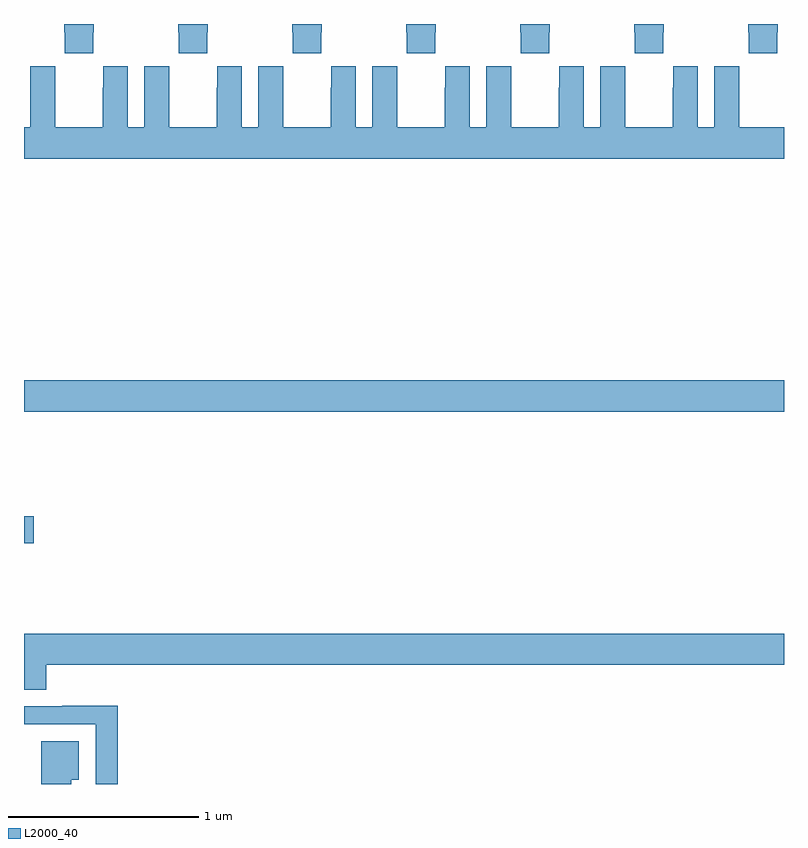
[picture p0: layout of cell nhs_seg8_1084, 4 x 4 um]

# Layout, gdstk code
import gdstk
lib = gdstk.Library(unit=1e-6, precision=1e-09)
def R(c, l, rs):  # rectangles x0, y0, x1, y1
    for r in rs: c.add(gdstk.rectangle(r[:2], r[2:], *l))
def P(c, l, *ps):  # polygons
    for p in ps: c.add(gdstk.Polygon(p, *l))
L2000_40 = (2000, 40)

nhs_seg8_1084 = lib.new_cell('nhs_seg8_1084')
R(nhs_seg8_1084, L2000_40, [(181,1089.166,181.051,1089.308), (181,1089.86,185,1090.024)])
P(nhs_seg8_1084, L2000_40, [(181.365,1091.857),(181.368,1091.857),(181.368,1091.9),(181.213,1091.9),(181.213,1091.857),(181.215,1091.857),(181.215,1091.745),(181.365,1091.745)],
  [(181.965,1091.857),(181.968,1091.857),(181.968,1091.9),(181.813,1091.9),(181.813,1091.857),(181.815,1091.857),(181.815,1091.745),(181.965,1091.745)],
  [(182.565,1091.857),(182.568,1091.857),(182.568,1091.9),(182.413,1091.9),(182.413,1091.857),(182.415,1091.857),(182.415,1091.745),(182.565,1091.745)],
  [(183.165,1091.857),(183.168,1091.857),(183.168,1091.9),(183.013,1091.9),(183.013,1091.857),(183.015,1091.857),(183.015,1091.745),(183.165,1091.745)],
  [(183.765,1091.857),(183.768,1091.857),(183.768,1091.9),(183.613,1091.9),(183.613,1091.857),(183.615,1091.857),(183.615,1091.745),(183.765,1091.745)],
  [(184.365,1091.857),(184.368,1091.857),(184.368,1091.9),(184.213,1091.9),(184.213,1091.857),(184.215,1091.857),(184.215,1091.745),(184.365,1091.745)],
  [(184.965,1091.857),(184.968,1091.857),(184.968,1091.9),(184.813,1091.9),(184.813,1091.857),(184.815,1091.857),(184.815,1091.745),(184.965,1091.745)],
  [(183.216,1091.677),(183.216,1091.564),(183.215,1091.564),(183.215,1091.356),(182.965,1091.356),(182.965,1091.564),(182.964,1091.564),(182.964,1091.677),(182.834,1091.677),(182.834,1091.356),(182.746,1091.356),(182.746,1091.677),(182.616,1091.677),(182.616,1091.564),(182.615,1091.564),(182.615,1091.356),(182.365,1091.356),(182.365,1091.564),(182.364,1091.564),(182.364,1091.677),(182.234,1091.677),(182.234,1091.356),(182.146,1091.356),(182.146,1091.677),(182.016,1091.677),(182.016,1091.564),(182.015,1091.564),(182.015,1091.356),(181.765,1091.356),(181.765,1091.564),(181.764,1091.564),(181.764,1091.677),(181.634,1091.677),(181.634,1091.356),(181.546,1091.356),(181.546,1091.677),(181.416,1091.677),(181.416,1091.564),(181.415,1091.564),(181.415,1091.356),(181.165,1091.356),(181.165,1091.564),(181.164,1091.564),(181.164,1091.677),(181.034,1091.677),(181.034,1091.356),(181,1091.356),(181,1091.192),(185,1091.192),(185,1091.356),(184.765,1091.356),(184.765,1091.564),(184.764,1091.564),(184.764,1091.677),(184.634,1091.677),(184.634,1091.356),(184.546,1091.356),(184.546,1091.677),(184.416,1091.677),(184.416,1091.564),(184.415,1091.564),(184.415,1091.356),(184.165,1091.356),(184.165,1091.564),(184.164,1091.564),(184.164,1091.677),(184.034,1091.677),(184.034,1091.356),(183.946,1091.356),(183.946,1091.677),(183.816,1091.677),(183.816,1091.564),(183.815,1091.564),(183.815,1091.356),(183.565,1091.356),(183.565,1091.564),(183.564,1091.564),(183.564,1091.677),(183.434,1091.677),(183.434,1091.356),(183.346,1091.356),(183.346,1091.677)],
  [(181.118,1088.528),(185,1088.528),(185,1088.692),(181,1088.692),(181,1088.395),(181.118,1088.395)],
  [(181.493,1088.312),(181.201,1088.312),(181.201,1088.31),(181,1088.31),(181,1088.214),(181.377,1088.214),(181.377,1087.9),(181.493,1087.9)],
  [(181.249,1087.922),(181.288,1087.922),(181.288,1088.125),(181.091,1088.125),(181.091,1087.9),(181.249,1087.9)])

lib.write_gds('nhs_seg8_1084.gds')
